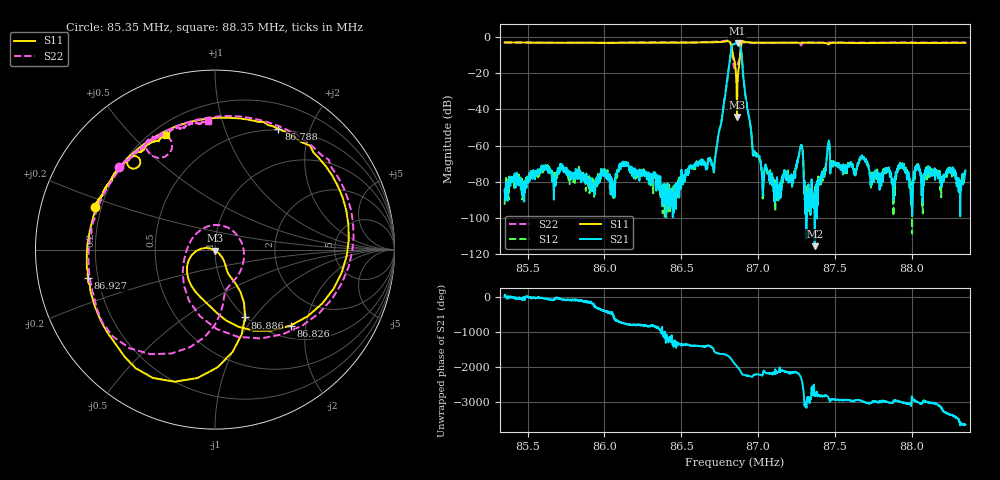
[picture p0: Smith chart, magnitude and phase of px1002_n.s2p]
!Keysight Technologies,E5080A,MY55200989,A.11.70.00
!Date: Monday, July 01, 2019 10:00:57
!Correction: S11(Full 2 Port(1,2))
!S21(Full 2 Port(1,2))
!S12(Full 2 Port(1,2))
!S22(Full 2 Port(1,2))
!S2P File: Measurements: S11, S21, S12, S22:
# Hz S  dB  R 50
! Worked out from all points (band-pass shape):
!   1601 points, 85.35 MHz to 88.35 MHz, reference 50 ohm
!   highest |S21| = -3.49 dB at 86.867 MHz (marker M1); lowest = -115.7 dB at 87.369 MHz (marker M2)
!   |S21| within 3 dB of the highest: 86.82685 MHz to 86.88805 MHz (61.2 kHz wide, 0.0705 % of centre)
!   lowest |S11| = -44.2 dB at 86.863 MHz (marker M3), VSWR 1.01, Z = 50.2 - j0.572 ohm
!   |S11| at or under -10 dB: 86.83722 MHz to 86.88314 MHz (45.92 kHz wide, 0.0529 % of centre)
!   |S22| runs from -17.4 to -1.9 dB; largest |S21 - S12| = 0.0093
!   S11 on the Smith chart (normalised r, x): 85.35 MHz: 0.17, +0.16; 86.788 MHz: 0.48, +1.54; 86.826 MHz: 1.25, -1.65; 86.886 MHz: 0.99, -0.90; 86.927 MHz: 0.16, -0.11; 88.35 MHz: 0.25, +0.63
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8.535e7  -2.96 160.7  -84.48 23.4  -92.79 1.3  -3.04 139.3
8.585062e7  -3.10 150.6  -77.43 -127.6  -75.57 -117.0  -3.09 128.9
8.612625e7  -3.09 144.6  -71.47 -31.1  -69.01 -32.8  -3.04 123.0
8.635125e7  -3.06 137.1  -77.93 170.4  -78.62 -176.7  -2.97 116.0
8.67075e7  -2.85 107.6  -71.93 -30.4  -71.48 -40.1  -2.61 89.3
8.678812e7  -2.38 62.4  -30.74 147.8  -30.78 148.4  -2.06 48.9
8.682562e7  -4.48 -45.2  -7.07 20.8  -7.07 20.8  -5.09 -62.9
8.685e7  -14.80 -149.0  -3.73 -121.6  -3.73 -121.6  -17.32 106.4
8.686312e7  -44.22 -67.8  -3.51 174.2  -3.51 174.2  -15.91 -1.2
8.686688e7  -24.48 -47.4  -3.49 154.6  -3.48 154.7  -15.05 -29.2
8.688562e7  -7.67 -66.1  -5.55 37.3  -5.55 37.3  -7.49 -90.3
8.692688e7  -2.80 -167.3  -37.41 -83.6  -37.37 -83.8  -3.14 168.8
8.697375e7  -3.05 169.4  -63.17 -62.3  -62.74 -63.4  -3.21 145.7
8.703188e7  -3.11 157.0  -87.52 -57.3  -83.81 -20.6  -3.15 133.7
8.721562e7  -3.13 141.4  -79.34 -23.4  -76.63 -9.6  -3.04 118.4
8.72775e7  -3.15 138.5  -60.33 -124.7  -61.01 -124.7  -4.30 113.3
8.731125e7  -3.11 137.1  -92.75 -147.2  -90.41 -28.7  -3.04 116.5
8.735062e7  -3.11 135.4  -93.23 -152.4  -81.28 44.5  -3.01 114.3
8.736938e7  -3.11 134.6  -115.66 42.4  -84.30 153.0  -3.00 113.6
8.745375e7  -3.79 130.1  -60.82 31.2  -61.15 32.3  -3.04 110.6
8.785125e7  -3.15 122.9  -73.34 -138.9  -74.30 -124.1  -2.96 101.8
8.835e7  -3.14 113.2  -73.80 -45.9  -75.04 -55.5  -2.85 93.1
